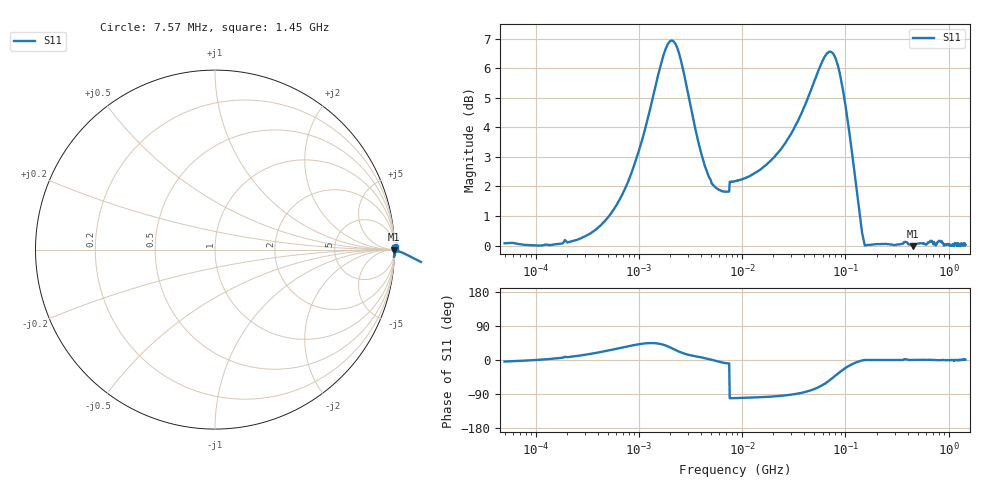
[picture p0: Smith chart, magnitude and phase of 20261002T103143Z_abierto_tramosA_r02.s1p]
! piloto_saltos / abierto_tramosA / r02
# HZ S RI R 50
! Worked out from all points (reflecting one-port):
!   501 points, 50 kHz to 1.45 GHz, reference 50 ohm
!   lowest |S11| = 0.0 dB at 451 MHz (marker M1), VSWR 800.93, Z = 3.98e+04 - j2.89e+03 ohm
!   phase of S11 starts at -4 deg and turns +5 deg over the sweep
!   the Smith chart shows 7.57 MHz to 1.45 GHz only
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50000  1.006 -0.071
183000  1.003 0.106
354000  1.008 0.3084
658000  1.022 0.6306
1180000  1.152 1.119
1630000  1.505 1.354
1990000  1.846 1.228
2440000  1.961 0.8003
3070000  1.721 0.4043
4420000  1.349 0.1088
7300000  1.219 -0.1924
7750000  -0.2408 -1.26
8560000  -0.235 -1.264
1.81e7  -0.1675 -1.373
3.16e7  -0.0109 -1.576
4.69e7  0.3371 -1.813
5.68e7  0.6977 -1.884
6.49e7  1.045 -1.828
7.48e7  1.429 -1.566
8.65e7  1.651 -1.1
9.82e7  1.627 -0.6731
1e8  1.611 -0.6193
1.18e8  1.377 -0.2435
1.36e8  1.147 -0.0687
1.63e8  1.002 -0.000431
4.06e8  1.005 0.00129
4.51e8  0.9975 -0.000181
1.45e9  1.003 0.0107
